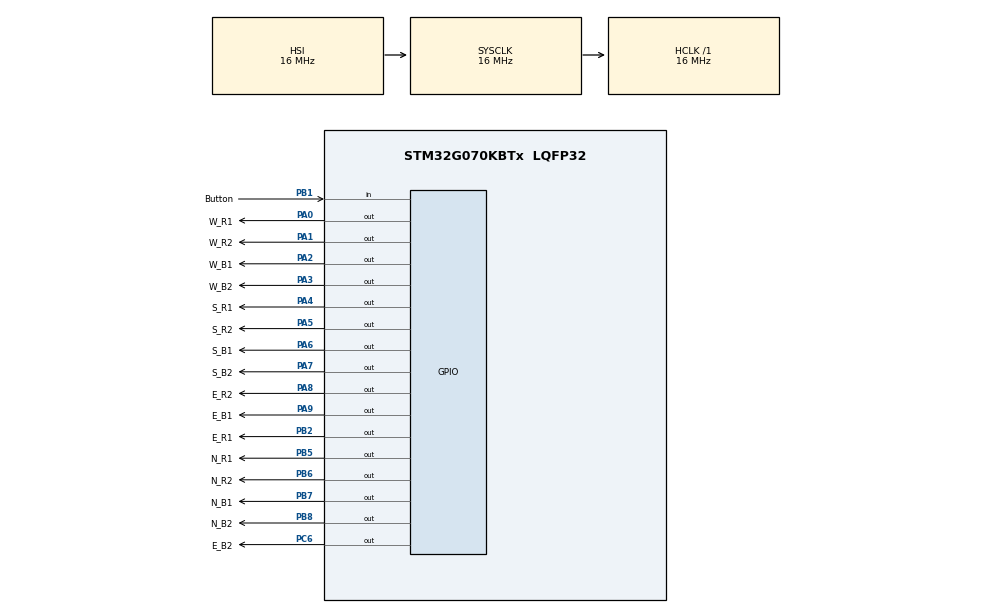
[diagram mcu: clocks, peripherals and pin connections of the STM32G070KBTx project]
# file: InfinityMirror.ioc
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Mcu.Family=STM32G0
RCC.CortexFreq_Value=16000000
PA9.GPIO_Label=E_B1
PA0.GPIO_Label=W_R1
PC6.Signal=GPIO_Output
PC6.GPIO_Label=E_B2
RCC.EXTERNAL_CLOCK_VALUE=48000
PA6.GPIO_Label=S_B1
PB6.GPIO_Label=N_R2
ProjectManager.StackSize=0x400
PB8.GPIO_Label=N_B2
PA8.GPIO_Label=E_R2
ProjectManager.TargetToolchain=Makefile
RCC.HCLKFreq_Value=16000000
PA9.Signal=GPIO_Output
PB6.Signal=GPIO_Output
RCC.LSE_VALUE=32768
PA1.Signal=GPIO_Output
RCC.AHBFreq_Value=16000000
PA5.Signal=GPIO_Output
RCC.HSE_VALUE=8000000
PB2.Signal=GPIO_Output
board=custom
RCC.VCOOutputFreq_Value=128000000
PB1.GPIO_Label=Button
PA1.GPIO_Label=W_R2
VP_SYS_VS_DBSignals.Mode=DisableDeadBatterySignals
PB7.Signal=GPIO_Output
PA8.Signal=GPIO_Output
Mcu.Name=STM32G070KBTx
PA2.Signal=GPIO_Output
PA0.Signal=GPIO_Output
PB7.GPIO_Label=N_B1
PA4.Signal=GPIO_Output
RCC.SYSCLKFreq_VALUE=16000000
Mcu.Package=LQFP32
PB5.Signal=GPIO_Output
PA6.Signal=GPIO_Output
PB1.Signal=GPIO_Input
PA7.GPIO_Label=S_B2
PA5.GPIO_Label=S_R2
PA2.GPIO_Label=W_B1
PB2.GPIO_Label=E_R1
ProjectManager.HeapSize=0x200
RCC.HSI_VALUE=16000000
PB5.GPIO_Label=N_R1
PB8.Signal=GPIO_Output
PA4.GPIO_Label=S_R1
PA3.GPIO_Label=W_B2
PA3.Signal=GPIO_Output
PA7.Signal=GPIO_Output

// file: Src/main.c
/* USER CODE BEGIN Header */
/**
  ******************************************************************************
  * @file           : main.c
  * @brief          : Main program body
  ******************************************************************************
  * @attention
  *
  * <h2><center>&copy; Copyright (c) 2020 STMicroelectronics.
  * All rights reserved.</center></h2>
  *
  * This software component is licensed by ST under BSD 3-Clause license,
  * the "License"; You may not use this file except in compliance with the
  * License. You may obtain a copy of the License at:
  *                        opensource.org/licenses/BSD-3-Clause
  *
  ******************************************************************************
  */
/* USER CODE END Header */

#include "main.h"

void SystemClock_Config(void);
static void MX_GPIO_Init(void);

int main(void)
{

  /* MCU Configuration--------------------------------------------------------*/

  /* Reset of all peripherals, Initializes the Flash interface and the Systick. */
  HAL_Init();

  /* Configure the system clock */
  SystemClock_Config();

  /* Initialize all configured peripherals */
  MX_GPIO_Init();
  /* USER CODE BEGIN 2 */
   //Red on
   HAL_GPIO_WritePin(GPIOA,GPIO_PIN_0,GPIO_PIN_RESET);
   HAL_GPIO_WritePin(GPIOA,GPIO_PIN_1,GPIO_PIN_RESET);
   HAL_GPIO_WritePin(GPIOA,GPIO_PIN_4,GPIO_PIN_RESET);
   HAL_GPIO_WritePin(GPIOA,GPIO_PIN_5,GPIO_PIN_RESET);
   HAL_GPIO_WritePin(GPIOA,GPIO_PIN_9,GPIO_PIN_RESET);
   //HAL_GPIO_WritePin(GPIOB,GPIO_PIN_8,GPIO_PIN_RESET);
   HAL_GPIO_WritePin(GPIOB,GPIO_PIN_5,GPIO_PIN_RESET);
   HAL_GPIO_WritePin(GPIOB,GPIO_PIN_6,GPIO_PIN_RESET);

   //Blue off
   HAL_GPIO_WritePin(GPIOA,GPIO_PIN_2,GPIO_PIN_SET);
   HAL_GPIO_WritePin(GPIOA,GPIO_PIN_3,GPIO_PIN_SET);
   HAL_GPIO_WritePin(GPIOA,GPIO_PIN_6,GPIO_PIN_SET);
   HAL_GPIO_WritePin(GPIOA,GPIO_PIN_7,GPIO_PIN_SET);
   HAL_GPIO_WritePin(GPIOB,GPIO_PIN_2,GPIO_PIN_SET);
   HAL_GPIO_WritePin(GPIOC,GPIO_PIN_6,GPIO_PIN_SET);
   HAL_GPIO_WritePin(GPIOB,GPIO_PIN_7,GPIO_PIN_SET);
   HAL_GPIO_WritePin(GPIOB,GPIO_PIN_8,GPIO_PIN_SET);

  /* USER CODE END 2 */

  /* Infinite loop */
  /* USER CODE BEGIN WHILE */
  while (1)
  {
      //Red on
      HAL_GPIO_TogglePin(GPIOA,GPIO_PIN_0);
      HAL_GPIO_TogglePin(GPIOA,GPIO_PIN_1);
      HAL_GPIO_TogglePin(GPIOA,GPIO_PIN_4);
      HAL_GPIO_TogglePin(GPIOA,GPIO_PIN_5);
      HAL_GPIO_TogglePin(GPIOB,GPIO_PIN_2);
      //HAL_GPIO_TogglePin(GPIOB,GPIO_PIN_8);
      HAL_GPIO_TogglePin(GPIOB,GPIO_PIN_5);
      HAL_GPIO_TogglePin(GPIOB,GPIO_PIN_6);

      //Blue off
      HAL_GPIO_TogglePin(GPIOA,GPIO_PIN_2);
      HAL_GPIO_TogglePin(GPIOA,GPIO_PIN_3);
      HAL_GPIO_TogglePin(GPIOA,GPIO_PIN_6);
      HAL_GPIO_TogglePin(GPIOA,GPIO_PIN_7);
      HAL_GPIO_TogglePin(GPIOA,GPIO_PIN_9);
      HAL_GPIO_TogglePin(GPIOC,GPIO_PIN_6);
      HAL_GPIO_TogglePin(GPIOB,GPIO_PIN_7);
      HAL_GPIO_TogglePin(GPIOB,GPIO_PIN_8);

      HAL_Delay(500);
      //Red First
      HAL_GPIO_TogglePin(GPIOA,GPIO_PIN_0);
      HAL_GPIO_TogglePin(GPIOA,GPIO_PIN_1);
      HAL_GPIO_TogglePin(GPIOA,GPIO_PIN_4);
      HAL_GPIO_TogglePin(GPIOA,GPIO_PIN_5);
      HAL_GPIO_TogglePin(GPIOB,GPIO_PIN_2);
      //HAL_GPIO_TogglePin(GPIOB,GPIO_PIN_8);
      HAL_GPIO_TogglePin(GPIOB,GPIO_PIN_5);
      HAL_GPIO_TogglePin(GPIOB,GPIO_PIN_6);

      //Blue off
      HAL_GPIO_TogglePin(GPIOA,GPIO_PIN_2);
      HAL_GPIO_TogglePin(GPIOA,GPIO_PIN_3);
      HAL_GPIO_TogglePin(GPIOA,GPIO_PIN_6);
      HAL_GPIO_TogglePin(GPIOA,GPIO_PIN_7);
      HAL_GPIO_TogglePin(GPIOA,GPIO_PIN_9);
      HAL_GPIO_TogglePin(GPIOC,GPIO_PIN_6);
      HAL_GPIO_TogglePin(GPIOB,GPIO_PIN_7);
      //HAL_GPIO_TogglePin(GPIOB,GPIO_PIN_8);

      HAL_Delay(500);
    /* USER CODE END WHILE */

  }
}

void SystemClock_Config(void)
{
  RCC_OscInitTypeDef RCC_OscInitStruct = {0};
  RCC_ClkInitTypeDef RCC_ClkInitStruct = {0};

  /** Configure the main internal regulator output voltage
  */
  HAL_PWREx_ControlVoltageScaling(PWR_REGULATOR_VOLTAGE_SCALE1);
  /** Initializes the CPU, AHB and APB busses clocks
  */
  RCC_OscInitStruct.OscillatorType = RCC_OSCILLATORTYPE_HSI;
  RCC_OscInitStruct.HSIState = RCC_HSI_ON;
  RCC_OscInitStruct.HSIDiv = RCC_HSI_DIV1;
  RCC_OscInitStruct.HSICalibrationValue = RCC_HSICALIBRATION_DEFAULT;
  RCC_OscInitStruct.PLL.PLLState = RCC_PLL_NONE;
  if (HAL_RCC_OscConfig(&RCC_OscInitStruct) != HAL_OK)
  {
    Error_Handler();
  }
  /** Initializes the CPU, AHB and APB busses clocks
  */
  RCC_ClkInitStruct.ClockType = RCC_CLOCKTYPE_HCLK|RCC_CLOCKTYPE_SYSCLK
                              |RCC_CLOCKTYPE_PCLK1;
  RCC_ClkInitStruct.SYSCLKSource = RCC_SYSCLKSOURCE_HSI;
  RCC_ClkInitStruct.AHBCLKDivider = RCC_SYSCLK_DIV1;
  RCC_ClkInitStruct.APB1CLKDivider = RCC_HCLK_DIV1;

  if (HAL_RCC_ClockConfig(&RCC_ClkInitStruct, FLASH_LATENCY_0) != HAL_OK)
  {
    Error_Handler();
  }
}

static void MX_GPIO_Init(void)
{
  GPIO_InitTypeDef GPIO_InitStruct = {0};

  /* GPIO Ports Clock Enable */
  __HAL_RCC_GPIOA_CLK_ENABLE();
  __HAL_RCC_GPIOB_CLK_ENABLE();
  __HAL_RCC_GPIOC_CLK_ENABLE();

  /*Configure GPIO pin Output Level */
  HAL_GPIO_WritePin(GPIOA, W_R1_Pin|W_R2_Pin|W_B1_Pin|W_B2_Pin
                          |S_R1_Pin|S_R2_Pin|S_B1_Pin|S_B2_Pin
                          |E_R2_Pin|E_B1_Pin, GPIO_PIN_RESET);

  /*Configure GPIO pin Output Level */
  HAL_GPIO_WritePin(GPIOB, E_R1_Pin|N_R1_Pin|N_R2_Pin|N_B1_Pin
                          |N_B2_Pin, GPIO_PIN_RESET);

  /*Configure GPIO pin Output Level */
  HAL_GPIO_WritePin(E_B2_GPIO_Port, E_B2_Pin, GPIO_PIN_RESET);

  /*Configure GPIO pins : W_R1_Pin W_R2_Pin W_B1_Pin W_B2_Pin
                           S_R1_Pin S_R2_Pin S_B1_Pin S_B2_Pin
                           E_R2_Pin E_B1_Pin */
  GPIO_InitStruct.Pin = W_R1_Pin|W_R2_Pin|W_B1_Pin|W_B2_Pin
                          |S_R1_Pin|S_R2_Pin|S_B1_Pin|S_B2_Pin
                          |E_R2_Pin|E_B1_Pin;
  GPIO_InitStruct.Mode = GPIO_MODE_OUTPUT_PP;
  GPIO_InitStruct.Pull = GPIO_NOPULL;
  GPIO_InitStruct.Speed = GPIO_SPEED_FREQ_LOW;
  HAL_GPIO_Init(GPIOA, &GPIO_InitStruct);

  /*Configure GPIO pin : Button_Pin */
  GPIO_InitStruct.Pin = Button_Pin;
  GPIO_InitStruct.Mode = GPIO_MODE_INPUT;
  GPIO_InitStruct.Pull = GPIO_NOPULL;
  HAL_GPIO_Init(Button_GPIO_Port, &GPIO_InitStruct);

  /*Configure GPIO pins : E_R1_Pin N_R1_Pin N_R2_Pin N_B1_Pin
                           N_B2_Pin */
  GPIO_InitStruct.Pin = E_R1_Pin|N_R1_Pin|N_R2_Pin|N_B1_Pin
                          |N_B2_Pin;
  GPIO_InitStruct.Mode = GPIO_MODE_OUTPUT_PP;
  GPIO_InitStruct.Pull = GPIO_NOPULL;
  GPIO_InitStruct.Speed = GPIO_SPEED_FREQ_LOW;
  HAL_GPIO_Init(GPIOB, &GPIO_InitStruct);

  /*Configure GPIO pin : E_B2_Pin */
  GPIO_InitStruct.Pin = E_B2_Pin;
  GPIO_InitStruct.Mode = GPIO_MODE_OUTPUT_PP;
  GPIO_InitStruct.Pull = GPIO_NOPULL;
  GPIO_InitStruct.Speed = GPIO_SPEED_FREQ_LOW;
  HAL_GPIO_Init(E_B2_GPIO_Port, &GPIO_InitStruct);

}

void Error_Handler(void)
{
}

/************************ (C) COPYRIGHT STMicroelectronics *****END OF FILE****/
